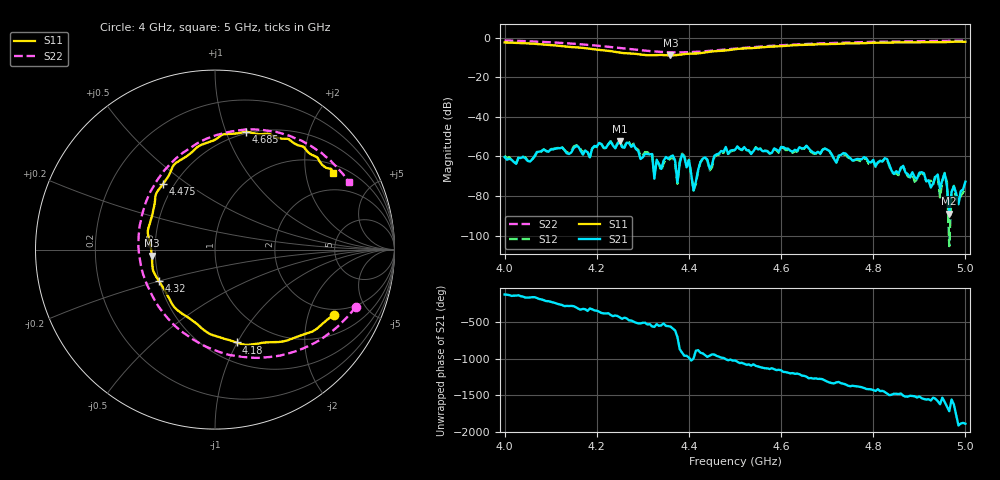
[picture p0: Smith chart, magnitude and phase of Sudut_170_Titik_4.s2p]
# Hz S RI R 50
! CMT, C1220, 16058040, 17.2.0/1
! Date: 15/08/2018 12:30:02
! Data: Format (Calibration Info)
! Freq  S11: Re/Im (F2)  S21: Re/Im (F2)  S12: Re/Im (F2)  S22: Re/Im (F2)
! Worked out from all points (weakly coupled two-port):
!   201 points, 4 GHz to 5 GHz, reference 50 ohm
!   highest |S21| = -52.36 dB at 4.25 GHz (marker M1); lowest = -88.8 dB at 4.965 GHz (marker M2)
!   lowest |S11| = -9.0 dB at 4.36 GHz (marker M3), VSWR 2.09, Z = 24 - j1.82 ohm
!   |S11| at or under -10 dB: nowhere
!   |S22| runs from -7.5 to -1.5 dB; largest |S21 - S12| = 0.00018
!   S11 on the Smith chart (normalised r, x): 4 GHz: 1.75, -2.95; 4.18 GHz: 0.69, -0.99; 4.32 GHz: 0.50, -0.20; 4.475 GHz: 0.44, +0.41; 4.685 GHz: 0.48, +1.18; 5 GHz: 1.29, +2.85
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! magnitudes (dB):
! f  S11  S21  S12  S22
! 4 GHz  -2.4  -60.3  -59.8  -1.5
! 4.17 GHz  -5.2  -59.1  -58.3  -3.5
! 4.18 GHz  -5.5  -57.9  -57.5  -3.7
! 4.25 GHz  -7.6  -52.4  -52.0  -5.2
! 4.32 GHz  -8.9  -58.8  -58.3  -6.9
! 4.325 GHz  -8.9  -71.2  -69.1  -7.0
! 4.335 GHz  -8.8  -63.8  -64.1  -7.2
! 4.36 GHz  -9.0  -60.1  -61.1  -7.5
! 4.375 GHz  -8.8  -73.1  -73.7  -7.5
! 4.385 GHz  -8.5  -59.0  -58.6  -7.5
! 4.4 GHz  -8.2  -61.9  -61.6  -7.4
! 4.41 GHz  -8.2  -77.1  -77.2  -7.3
! 4.43 GHz  -7.7  -61.2  -61.2  -7.0
! 4.475 GHz  -6.6  -57.6  -58.3  -6.1
! 4.5 GHz  -5.9  -56.7  -57.0  -5.6
! 4.67 GHz  -3.5  -58.0  -58.5  -3.1
! 4.685 GHz  -3.4  -58.6  -58.8  -3.0
! 4.835 GHz  -2.6  -64.3  -64.9  -2.0
! 4.945 GHz  -2.4  -76.3  -80.7  -1.7
! 4.955 GHz  -2.3  -68.5  -68.3  -1.7
! 4.965 GHz  -2.2  -88.8  -105.3  -1.6
! 5 GHz  -2.1  -72.7  -76.0  -1.6
